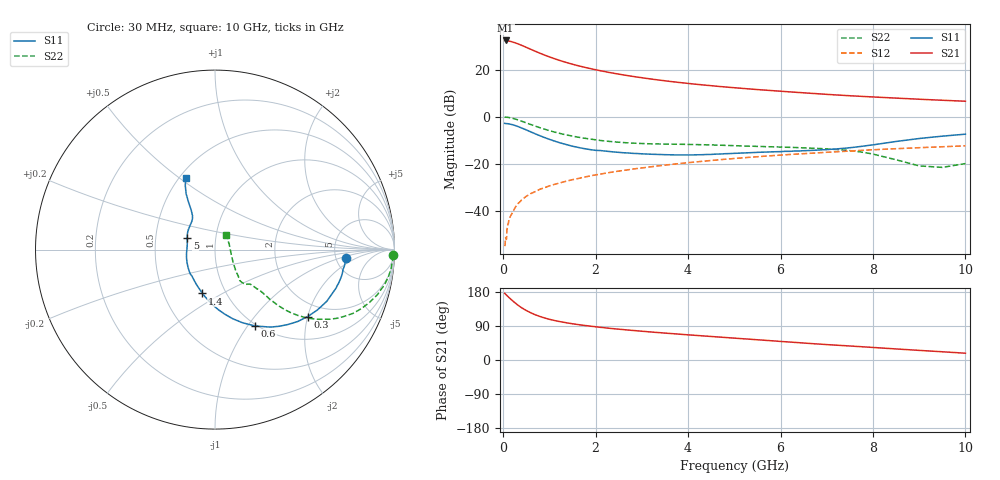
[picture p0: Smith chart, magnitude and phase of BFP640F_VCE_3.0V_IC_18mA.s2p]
! Infineon Technologies  Discrete & RF Semiconductors
! BFP640F
! VCE =  3.0 V,  IC =  18 mA
! Common Emitter S-Parameters:  Apr 2013
# GHz  S  MA  R  50
!  f  S11  S21  S12  S22
! GHz  MAG  ANG  MAG  ANG  MAG  ANG  MAG  ANG
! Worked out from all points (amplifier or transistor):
!   99 points, 30 MHz to 10 GHz, reference 50 ohm
!   highest |S21| = 32.5 dB at 50 MHz (marker M1)
!   |S21| within 3 dB of that: start of sweep to 507.5 MHz
!   unconditionally stable (mu >= 1): 2.367 GHz to end of sweep
!   at 350 MHz: K = 0.31, MSG = 33.5 dB, |S12| = -36.2 dB
!   at 3.5 GHz: K = 1.05, MAG = 16.5 dB, |S12| = -20.5 dB
!   at 10 GHz: K = 1.05, MAG = 8.1 dB, |S12| = -12.3 dB
!   S11 on the Smith chart (normalised r, x): 30 MHz: 6.22, -1.23; 300 MHz: 1.59, -2.00; 600 MHz: 0.98, -1.09; 1.4 GHz: 0.78, -0.41; 5 GHz: 0.73, +0.10; 10 GHz: 0.54, +0.53
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0.03  0.7323 -3.6  41.91 176.1  0.0018 82.6  0.9898 -1.9
0.05  0.7276 -6.4  42.26 173.8  0.0027 91.3  0.9912 -3.6
0.07  0.7218 -8.8  41.97 171.2  0.0025 76.1  0.9875 -5.3
0.15  0.7034 -18.8  40.52 162.0  0.0076 83.0  0.9628 -11.9
0.25  0.6624 -30.5  37.86 151.4  0.0115 77.3  0.9096 -18.9
0.3  0.6373 -35.8  36.38 146.5  0.0139 77.5  0.879 -22.0
0.4  0.5823 -45.8  33.26 137.8  0.0173 73.4  0.8121 -27.2
0.5  0.5302 -54.5  30.14 130.5  0.0207 70.9  0.7488 -31.2
0.6  0.4807 -62.3  27.29 124.3  0.0237 69.8  0.6894 -34.3
0.7  0.4359 -69.3  24.77 119.0  0.0262 68.2  0.6372 -36.7
0.8  0.3979 -75.6  22.51 114.6  0.0293 67.6  0.5889 -38.5
0.9  0.3638 -81.4  20.59 110.7  0.0316 67.4  0.5482 -39.8
1.1  0.3097 -92.0  17.44 104.5  0.0368 66.4  0.4812 -41.3
1.4  0.2539 -106.0  14.07 97.5  0.0441 66.0  0.4104 -42.2
1.7  0.2175 -119.1  11.76 92.1  0.0513 65.2  0.3613 -42.1
2.4  0.1807 -145.8  8.464 82.5  0.0685 63.4  0.2959 -43.6
3.4  0.1594 -173.9  6.038 72.0  0.0925 59.8  0.2664 -46.1
5  0.1689 156.8  4.183 57.7  0.1312 52.6  0.2457 -49.9
5.1  0.1703 155.5  4.107 56.8  0.1336 52.1  0.2441 -50.1
6.7  0.1958 134.1  3.164 43.1  0.1707 43.6  0.2167 -51.0
8.5  0.3018 119.2  2.518 29.2  0.212 33.8  0.1234 -35.2
10  0.4312 112.3  2.16 17.9  0.244 25.3  0.1024 52.9
